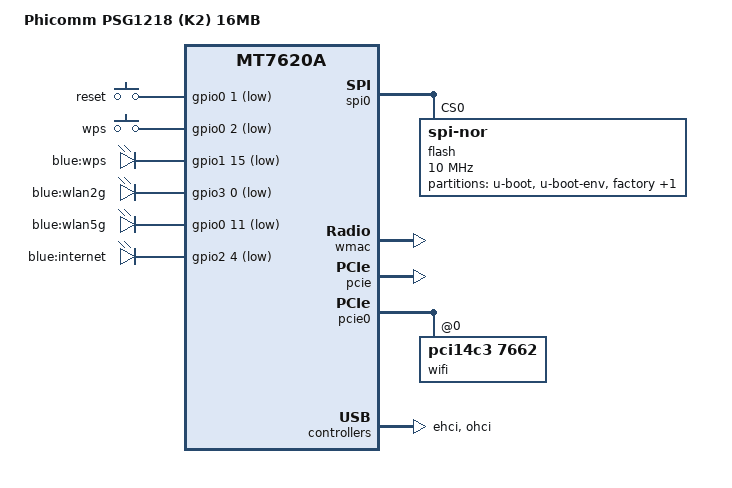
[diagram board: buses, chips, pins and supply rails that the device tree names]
// 基于 mt7620a_phicomm_k2.dts 复制，修改 Flash 为 16MB
// 文件路径：target/linux/ramips/dts/mt7620a_phicomm_k2-16m.dts

/dts-v1/;

#include "mt7620a.dtsi"

#include <dt-bindings/gpio/gpio.h>
#include <dt-bindings/input/input.h>

/ {
    compatible = "phicomm,k2-16m", "phicomm,psg1218", "ralink,mt7620a-soc";
    model = "Phicomm PSG1218 (K2) 16MB";

    aliases {
        led-boot = &led_wps;
        led-failsafe = &led_wps;
        led-running = &led_wps;
        led-upgrade = &led_wps;
    };

    keys {
        compatible = "gpio-keys";

        reset {
            label = "reset";
            gpios = <&gpio0 1 GPIO_ACTIVE_LOW>;
            linux,code = <KEY_RESTART>;
        };

        wps {
            label = "wps";
            gpios = <&gpio0 2 GPIO_ACTIVE_LOW>;
            linux,code = <KEY_WPS_BUTTON>;
        };
    };

    leds {
        compatible = "gpio-leds";

        led_wps: wps {
            label = "blue:wps";
            gpios = <&gpio1 15 GPIO_ACTIVE_LOW>;
        };

        wlan2g {
            label = "blue:wlan2g";
            gpios = <&gpio3 0 GPIO_ACTIVE_LOW>;
            linux,default-trigger = "phy1tpt";
        };

        wlan5g {
            label = "blue:wlan5g";
            gpios = <&gpio0 11 GPIO_ACTIVE_LOW>;
            linux,default-trigger = "phy0tpt";
        };

        internet {
            label = "blue:internet";
            gpios = <&gpio2 4 GPIO_ACTIVE_LOW>;
        };
    };
};

&gpio1 {
    status = "okay";
};

&gpio2 {
    status = "okay";
};

&gpio3 {
    status = "okay";
};

&spi0 {
    status = "okay";

    flash@0 {
        compatible = "jedec,spi-nor";
        reg = <0>;
        spi-max-frequency = <10000000>;

        partitions {
            compatible = "fixed-partitions";
            #address-cells = <1>;
            #size-cells = <1>;

            partition@0 {
                label = "u-boot";
                reg = <0x0 0x30000>;
                read-only;
            };

            partition@30000 {
                label = "u-boot-env";
                reg = <0x30000 0x10000>;
                read-only;
            };

            factory: partition@40000 {
                label = "factory";
                reg = <0x40000 0x10000>;
                read-only;

                nvmem-layout {
                    compatible = "fixed-layout";
                    #address-cells = <1>;
                    #size-cells = <1>;

                    eeprom_factory_0: eeprom@0 {
                        reg = <0x0 0x200>;
                    };

                    macaddr_factory_4: macaddr@4 {
                        reg = <0x4 0x6>;
                    };

                    macaddr_factory_28: macaddr@28 {
                        reg = <0x28 0x6>;
                    };

                    macaddr_factory_8004: macaddr@8004 {
                        reg = <0x8004 0x6>;
                    };
                };
            };

            /* ===== 16MB 改装关键修改 ===== */
            /* 原厂8MB: reg = <0xA0000 0x760000>;  (约7.4MB) */
            /* 改装16MB: reg = <0xA0000 0xF60000>; (约15.4MB) */
            firmware: partition@a0000 {
                compatible = "denx,uimage";
                label = "firmware";
                reg = <0xa0000 0xf60000>;
            };
        };
    };
};

&state_default {
    gpio {
        groups = "i2c", "uartf", "wled", "ephy led mode";
        function = "gpio";
    };
};

&ethernet {
    nvmem-cells = <&macaddr_factory_4>;
    nvmem-cell-names = "mac-address";

    port@4 {
        status = "okay";
        label = "wan";
        nvmem-cells = <&macaddr_factory_8004>;
        nvmem-cell-names = "mac-address";
    };

    port@5 {
        status = "okay";
        label = "lan4";
    };
};

&esw {
    mediatek,portmap = <0x2f>;
};

&wmac {
    nvmem-cells = <&eeprom_factory_0>;
    nvmem-cell-names = "eeprom";
};

&pcie {
    status = "okay";
};

&pcie0 {
    wifi@0,0 {
        compatible = "pci14c3,7662";
        reg = <0x0000 0 0 0 0>;
        nvmem-cells = <&eeprom_factory_0>;
        nvmem-cell-names = "eeprom";
        ieee80211-freq-limit = <5000000 6000000>;
    };
};

&ehci {
    status = "okay";
};

&ohci {
    status = "okay";
};
